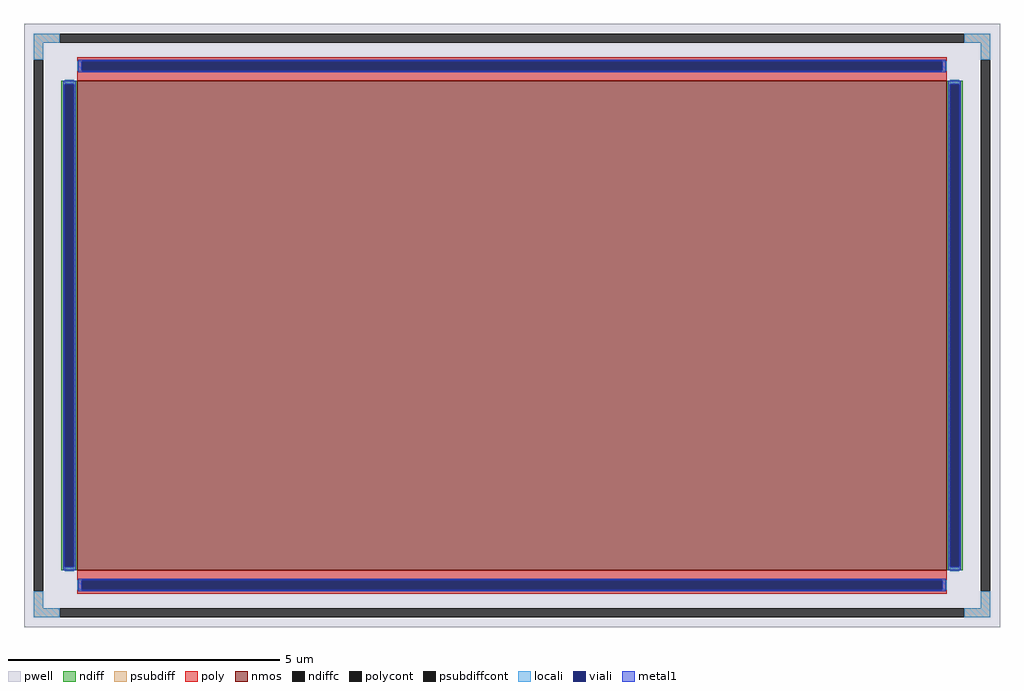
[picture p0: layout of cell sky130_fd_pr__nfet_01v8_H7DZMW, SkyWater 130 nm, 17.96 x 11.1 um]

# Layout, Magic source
magic
tech sky130A
<< pwell >>
rect -898 -555 898 555
<< nmos >>
rect -800 -450 800 450
<< ndiff >>
rect -829 444 -800 450
rect -829 -444 -823 444
rect -806 -444 -800 444
rect -829 -450 -800 -444
rect 800 444 829 450
rect 800 -444 806 444
rect 823 -444 829 444
rect 800 -450 829 -444
<< ndiffc >>
rect -823 -444 -806 444
rect 806 -444 823 444
<< psubdiff >>
rect -880 520 -832 537
rect 832 520 880 537
rect -880 489 -863 520
rect 863 489 880 520
rect -880 -520 -863 -489
rect 863 -520 880 -489
rect -880 -537 -832 -520
rect 832 -537 880 -520
<< psubdiffcont >>
rect -832 520 832 537
rect -880 -489 -863 489
rect 863 -489 880 489
rect -832 -537 832 -520
<< poly >>
rect -800 486 800 494
rect -800 469 -792 486
rect 792 469 800 486
rect -800 450 800 469
rect -800 -469 800 -450
rect -800 -486 -792 -469
rect 792 -486 800 -469
rect -800 -494 800 -486
<< polycont >>
rect -792 469 792 486
rect -792 -486 792 -469
<< locali >>
rect -880 520 -832 537
rect 832 520 880 537
rect -880 489 -863 520
rect 863 489 880 520
rect -800 469 -792 486
rect 792 469 800 486
rect -823 444 -806 452
rect -823 -452 -806 -444
rect 806 444 823 452
rect 806 -452 823 -444
rect -800 -486 -792 -469
rect 792 -486 800 -469
rect -880 -520 -863 -489
rect 863 -520 880 -489
rect -880 -537 -832 -520
rect 832 -537 880 -520
<< viali >>
rect -792 469 792 486
rect -823 -444 -806 444
rect 806 -444 823 444
rect -792 -486 792 -469
<< metal1 >>
rect -798 486 798 489
rect -798 469 -792 486
rect 792 469 798 486
rect -798 466 798 469
rect -826 444 -803 450
rect -826 -444 -823 444
rect -806 -444 -803 444
rect -826 -450 -803 -444
rect 803 444 826 450
rect 803 -444 806 444
rect 823 -444 826 444
rect 803 -450 826 -444
rect -798 -469 798 -466
rect -798 -486 -792 -469
rect 792 -486 798 -469
rect -798 -489 798 -486
<< properties >>
string FIXED_BBOX -871 -528 871 528
string gencell sky130_fd_pr__nfet_01v8
string library sky130
string parameters w 9 l 16 m 1 nf 1 diffcov 100 polycov 100 guard 1 glc 1 grc 1 gtc 1 gbc 1 tbcov 100 rlcov 100 topc 1 botc 1 poverlap 0 doverlap 1 lmin 0.15 wmin 0.42 compatible {sky130_fd_pr__nfet_01v8 sky130_fd_pr__nfet_01v8_lvt  sky130_fd_bs_flash__special_sonosfet_star  sky130_fd_pr__nfet_g5v0d10v5 sky130_fd_pr__nfet_05v0_nvt  sky130_fd_pr__nfet_03v3_nvt} full_metal 1 viasrc 100 viadrn 100 viagate 100 viagb 0 viagr 0 viagl 0 viagt 0
<< end >>
